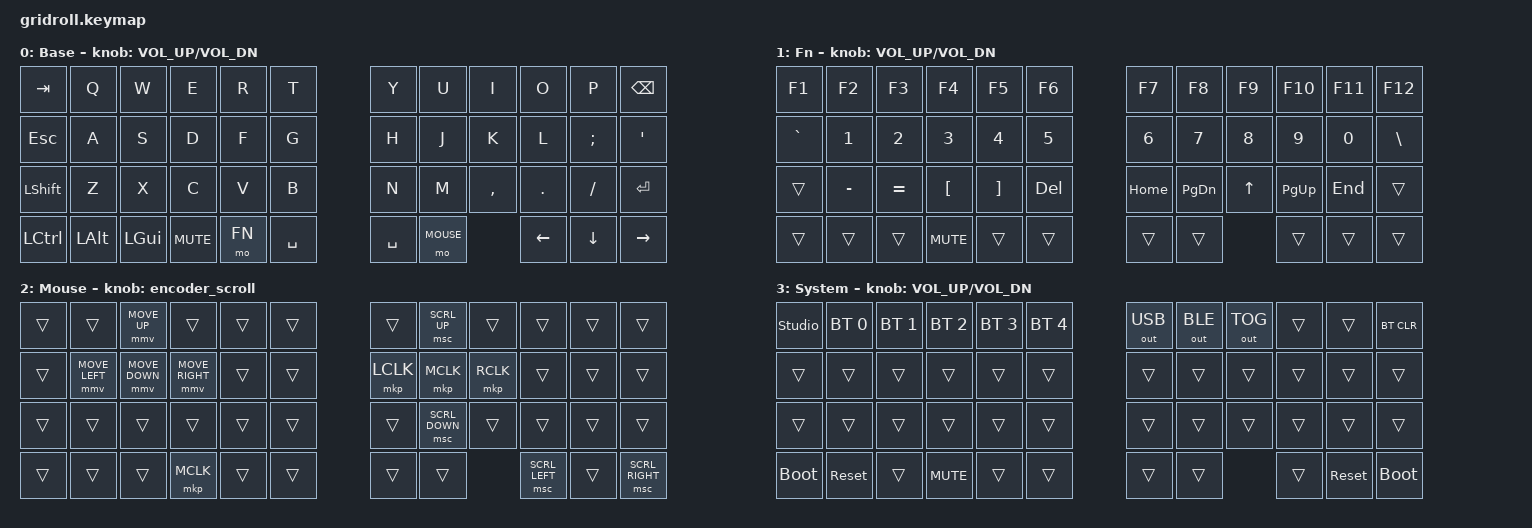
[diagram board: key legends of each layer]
// SPDX-License-Identifier: MIT
#include <behaviors.dtsi>
#include <dt-bindings/zmk/keys.h>
#include <dt-bindings/zmk/bt.h>
#include <dt-bindings/zmk/outputs.h>
#include <dt-bindings/zmk/pointing.h>
#include <zephyr/dt-bindings/input/input-event-codes.h>
#include <input/processors/runtime-input-processor.dtsi>
#define BASE 0
#define FN 1
#define MOUSE 2
#define SYSTEM 3
/ {
    conditional_layers {
        compatible = "zmk,conditional-layers";
        system { if-layers = <FN MOUSE>; then-layer = <SYSTEM>; };
    };
    keymap {
        compatible = "zmk,keymap";
        base {
            display-name = "Base";
            bindings = <
                &kp TAB &kp Q &kp W &kp E &kp R &kp T &kp Y &kp U &kp I &kp O &kp P &kp BSPC
                &kp ESC &kp A &kp S &kp D &kp F &kp G &kp H &kp J &kp K &kp L &kp SEMI &kp SQT
                &kp LSHFT &kp Z &kp X &kp C &kp V &kp B &kp N &kp M &kp COMMA &kp DOT &kp FSLH &kp RET
                &kp LCTRL &kp LALT &kp LGUI &kp C_MUTE &mo FN &kp SPACE &kp SPACE &mo MOUSE &kp LEFT &kp DOWN &kp RIGHT
            >;
            sensor-bindings = <&inc_dec_kp C_VOL_UP C_VOL_DN>;
        };
        fn {
            display-name = "Fn";
            bindings = <
                &kp F1 &kp F2 &kp F3 &kp F4 &kp F5 &kp F6 &kp F7 &kp F8 &kp F9 &kp F10 &kp F11 &kp F12
                &kp GRAVE &kp N1 &kp N2 &kp N3 &kp N4 &kp N5 &kp N6 &kp N7 &kp N8 &kp N9 &kp N0 &kp BSLH
                &trans &kp MINUS &kp EQUAL &kp LBKT &kp RBKT &kp DEL &kp HOME &kp PG_DN &kp UP &kp PG_UP &kp END &trans
                &trans &trans &trans &kp C_MUTE &trans &trans &trans &trans &trans &trans &trans
            >;
            sensor-bindings = <&inc_dec_kp C_VOL_UP C_VOL_DN>;
        };
        mouse {
            display-name = "Mouse";
            bindings = <
                &trans &trans &mmv MOVE_UP &trans &trans &trans &trans &msc SCRL_UP &trans &trans &trans &trans
                &trans &mmv MOVE_LEFT &mmv MOVE_DOWN &mmv MOVE_RIGHT &trans &trans &mkp LCLK &mkp MCLK &mkp RCLK &trans &trans &trans
                &trans &trans &trans &trans &trans &trans &trans &msc SCRL_DOWN &trans &trans &trans &trans
                &trans &trans &trans &mkp MCLK &trans &trans &trans &trans &msc SCRL_LEFT &trans &msc SCRL_RIGHT
            >;
            sensor-bindings = <&encoder_scroll>;
        };
        system {
            display-name = "System";
            bindings = <
                &studio_unlock &bt BT_SEL 0 &bt BT_SEL 1 &bt BT_SEL 2 &bt BT_SEL 3 &bt BT_SEL 4 &out OUT_USB &out OUT_BLE &out OUT_TOG &trans &trans &bt BT_CLR
                &trans &trans &trans &trans &trans &trans &trans &trans &trans &trans &trans &trans
                &trans &trans &trans &trans &trans &trans &trans &trans &trans &trans &trans &trans
                &bootloader &sys_reset &trans &kp C_MUTE &trans &trans &trans &trans &trans &sys_reset &bootloader
            >;
            sensor-bindings = <&inc_dec_kp C_VOL_UP C_VOL_DN>;
        };
        extra1 { status = "reserved"; display-name = "Extra 1"; };
        extra2 { status = "reserved"; display-name = "Extra 2"; };
        extra3 { status = "reserved"; display-name = "Extra 3"; };
        extra4 { status = "reserved"; display-name = "Extra 4"; };
    };
    behaviors {
        encoder_scroll: encoder_scroll {
            compatible = "zmk,behavior-sensor-rotate";
            #sensor-binding-cells = <0>;
            bindings = <&msc SCRL_DOWN>, <&msc SCRL_UP>;
        };
    };
    // Separate, discoverable DYA processors; no automatic layer switching/inertia.
    gridroll_scroll: gridroll_scroll {
        compatible = "zmk,input-processor-runtime";
        processor-label = "scroll";
        type = <INPUT_EV_REL>;
        x-codes = <INPUT_REL_X>;
        y-codes = <INPUT_REL_Y>;
        scale-multiplier = <1>;
        scale-divisor = <60>;
        track-remainders;
        xy-to-scroll-enabled;
        #input-processor-cells = <0>;
    };
};
&trackball_listener {
    input-processors = <&mouse_runtime_input_processor>;
    scroll_layer {
        layers = <MOUSE>;
        input-processors = <&gridroll_scroll>;
    };
};
